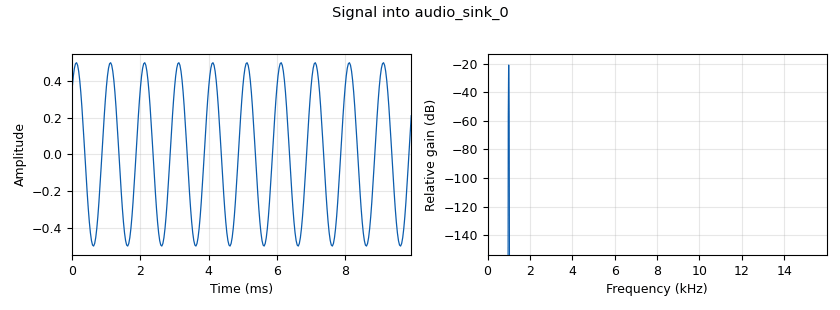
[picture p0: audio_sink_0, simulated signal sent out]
options:
  parameters:
    generate_options: qt_gui
    id: fm_receiver
    output_language: python
    title: FM Radio Receiver (Simulation)
  states: {}

blocks:
- name: audio_decim
  id: variable
  parameters:
    value: int(samp_rate / audio_rate)
  states: {}
- name: audio_rate
  id: variable
  parameters:
    value: '32000'
  states: {}
- name: samp_rate
  id: variable
  parameters:
    value: '320000'
  states: {}
- name: analog_sig_source_x_0
  id: analog_sig_source_x
  parameters:
    amp: '0.5'
    freq: '1000'
    offset: '0'
    phase: '0'
    samp_rate: audio_rate
    type: float
    waveform: analog.GR_SIN_WAVE
  states: {}
- name: analog_wfm_rcv_0
  id: analog_wfm_rcv
  parameters:
    audio_decimation: audio_decim
    quad_rate: samp_rate
  states: {}
- name: analog_wfm_tx_0
  id: analog_wfm_tx
  parameters:
    audio_rate: audio_rate
    fh: '-1.0'
    max_dev: 75e3
    quad_rate: samp_rate
    tau: '75e-6'
  states: {}
- name: audio_sink_0
  id: audio_sink
  parameters:
    samp_rate: audio_rate
  states: {}
- name: blocks_throttle2_0
  id: blocks_throttle2
  parameters:
    samples_per_second: samp_rate
    type: complex
  states: {}

connections:
- [analog_sig_source_x_0, '0', analog_wfm_tx_0, '0']
- [analog_wfm_rcv_0, '0', audio_sink_0, '0']
- [analog_wfm_tx_0, '0', blocks_throttle2_0, '0']
- [blocks_throttle2_0, '0', analog_wfm_rcv_0, '0']

metadata:
  file_format: 1
  grc_version: 3.10.12.0
